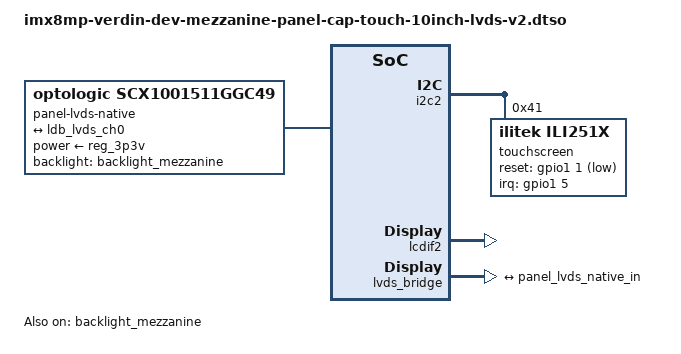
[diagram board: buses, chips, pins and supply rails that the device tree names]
// SPDX-License-Identifier: GPL-2.0-or-later OR MIT
/*
 * Copyright (c) Toradex
 *
 * Toradex Capacitive Touch Display 10.1" LVDS V2 on the Verdin iMX8M Plus
 * Mezzanine LVDS interface (J10), used with the Verdin Development Board.
 *
 * https://developer.toradex.com/hardware/accessories/displays/capacitive-touch-display-101inch-lvds
 * https://www.toradex.com/accessories/capacitive-touch-display-10.1-inch-lvds
 * https://developer.toradex.com/hardware/verdin-som-family/add-ons/verdin-imx8m-plus-mezzanine
 * https://www.toradex.com/accessories/verdin-imx8m-plus-mezzanine
 */

/dts-v1/;
/plugin/;

#include <dt-bindings/clock/imx8mp-clock.h>
#include <dt-bindings/gpio/gpio.h>
#include <dt-bindings/interrupt-controller/irq.h>

#include "imx8mp-pinfunc.h"

&{/} {
	panel-lvds-native {
		compatible = "optologic,scx1001511ggc49", "panel-lvds";
		backlight = <&backlight_mezzanine>;
		data-mapping = "vesa-24";
		power-supply = <&reg_3p3v>;
		height-mm = <136>;
		width-mm = <217>;

		panel-timing {
			clock-frequency = <64500000>;
			hactive = <1280>;
			hback-porch = <20>;
			hfront-porch = <20>;
			hsync-len = <2>;
			vactive = <800>;
			vback-porch = <5>;
			vfront-porch = <5>;
			vsync-len = <3>;
			de-active = <1>;
			hsync-active = <0>;
			vsync-active = <0>;
			pixelclk-active = <0>;
		};

		port {
			panel_lvds_native_in: endpoint {
				remote-endpoint = <&ldb_lvds_ch0>;
			};
		};
	};
};

&backlight_mezzanine {
	/* Verdin PWM_2 (SODIMM 16) */
	pwms = <&pwm2 0 6666667 0>;

	status = "okay";
};

/* Verdin I2C_2_DSI */
&i2c2 {
	#address-cells = <1>;
	#size-cells = <0>;

	touchscreen@41 {
		compatible = "ilitek,ili251x";
		reg = <0x41>;
		/* Verdin GPIO_3 (SODIMM 210) */
		interrupt-parent = <&gpio1>;
		interrupts = <5 IRQ_TYPE_EDGE_RISING>;
		/* Verdin GPIO_2 (SODIMM 208) */
		reset-gpios = <&gpio1 1 GPIO_ACTIVE_LOW>;
	};
};

&lcdif2 {
	status = "okay";
};

&lvds_bridge {
	assigned-clocks = <&clk IMX8MP_CLK_MEDIA_LDB>,
			  <&clk IMX8MP_VIDEO_PLL1>;
	/*
	 * This display uses 64.5 MHz pixel clock, so IMX8MP_VIDEO_PLL1 needs
	 * to be 7 times 64.5MHz, or 451.5 MHz as the internal divider will
	 * always divide the output LVDS clock by 7.
	 */
	assigned-clock-rates = <0>, <451500000>;

	status = "okay";

	ports {
		#address-cells = <1>;
		#size-cells = <0>;

		port@1 {
			reg = <1>;

			ldb_lvds_ch0: endpoint {
				remote-endpoint = <&panel_lvds_native_in>;
			};
		};
	};
};
